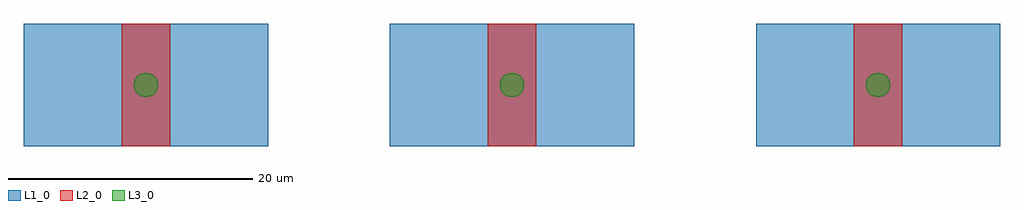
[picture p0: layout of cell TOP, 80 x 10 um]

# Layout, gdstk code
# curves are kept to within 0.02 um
import gdstk
lib = gdstk.Library(unit=1e-6, precision=1e-09)
def R(c, l, rs):  # rectangles x0, y0, x1, y1
    for r in rs: c.add(gdstk.rectangle(r[:2], r[2:], *l))
def A(c, l, x, y, w, h, nx, ny, dx, dy):  # array of equal rectangles
    R(c, l, [(x+i*dx, y+j*dy, x+i*dx+w, y+j*dy+h) for i in range(nx) for j in range(ny)])
def P(c, l, *ps):  # polygons
    for p in ps: c.add(gdstk.Polygon(p, *l))
L1_0 = (1, 0)
L2_0 = (2, 0)
L3_0 = (3, 0)

top = lib.new_cell('TOP')
A(top, L1_0, 0, 0, 20, 10, 3, 1, 30, 0)
A(top, L2_0, 8, 0, 4, 10, 3, 1, 30, 0)
P(top, L3_0, [(11,5),(10.924,5.383),(10.707,5.707),(10.383,5.924),(10,6),(9.617,5.924),(9.293,5.707),(9.076,5.383),(9,5),(9.076,4.617),(9.293,4.293),(9.617,4.076),(10,4),(10.383,4.076),(10.707,4.293),(10.924,4.617)],
  [(41,5),(40.924,5.383),(40.707,5.707),(40.383,5.924),(40,6),(39.617,5.924),(39.293,5.707),(39.076,5.383),(39,5),(39.076,4.617),(39.293,4.293),(39.617,4.076),(40,4),(40.383,4.076),(40.707,4.293),(40.924,4.617)],
  [(71,5),(70.924,5.383),(70.707,5.707),(70.383,5.924),(70,6),(69.617,5.924),(69.293,5.707),(69.076,5.383),(69,5),(69.076,4.617),(69.293,4.293),(69.617,4.076),(70,4),(70.383,4.076),(70.707,4.293),(70.924,4.617)])

lib.write_gds('TOP.gds')
